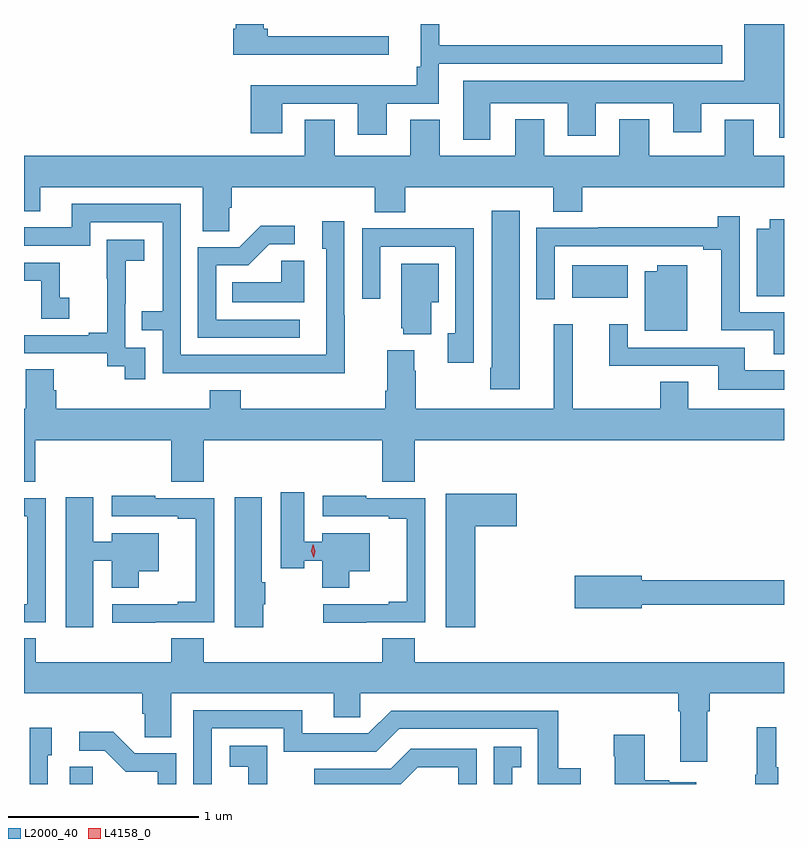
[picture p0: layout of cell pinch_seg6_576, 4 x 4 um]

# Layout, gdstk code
import gdstk
lib = gdstk.Library(unit=1e-6, precision=1e-09)
def R(c, l, rs):  # rectangles x0, y0, x1, y1
    for r in rs: c.add(gdstk.rectangle(r[:2], r[2:], *l))
def P(c, l, *ps):  # polygons
    for p in ps: c.add(gdstk.Polygon(p, *l))
L2000_40 = (2000, 40)
L4158_0 = (4158, 0)

pinch_seg6_576 = lib.new_cell('pinch_seg6_576')
R(pinch_seg6_576, L2000_40, [(532.55,962.842,532.671,962.933), (535.193,965.402,535.486,965.572)])
P(pinch_seg6_576, L2000_40, [(534.229,966.777),(533.591,966.777),(533.591,966.816),(533.571,966.816),(533.571,966.842),(533.423,966.842),(533.423,966.816),(533.408,966.816),(533.408,966.68),(534.229,966.68)],
  [(534.763,966.425),(535.169,966.425),(535.169,966.255),(535.318,966.255),(535.318,966.425),(535.724,966.425),(535.724,966.273),(535.873,966.273),(535.873,966.422),(536.282,966.422),(536.282,966.243),(536.308,966.243),(536.308,966.842),(536.099,966.842),(536.099,966.544),(534.62,966.544),(534.62,966.233),(534.763,966.233)],
  [(534.217,966.423),(534.492,966.423),(534.492,966.633),(535.984,966.633),(535.984,966.73),(534.493,966.73),(534.493,966.842),(534.395,966.842),(534.395,966.616),(534.376,966.616),(534.376,966.52),(533.501,966.52),(533.501,966.267),(533.668,966.267),(533.668,966.423),(534.065,966.423),(534.065,966.258),(534.217,966.258)],
  [(533.388,965.875),(533.402,965.875),(533.402,965.984),(534.155,965.984),(534.155,965.851),(534.315,965.851),(534.315,965.984),(535.094,965.984),(535.094,965.854),(535.247,965.854),(535.247,965.984),(536.308,965.984),(536.308,966.148),(536.149,966.148),(536.149,966.337),(535.997,966.337),(535.997,966.148),(535.6,966.148),(535.6,966.34),(535.442,966.34),(535.442,966.148),(535.045,966.148),(535.045,966.34),(534.893,966.34),(534.893,966.148),(534.496,966.148),(534.496,966.338),(534.341,966.338),(534.341,966.148),(533.944,966.148),(533.944,966.338),(533.786,966.338),(533.786,966.148),(532.308,966.148),(532.308,965.857),(532.393,965.857),(532.393,965.984),(533.249,965.984),(533.249,965.752),(533.388,965.752)],
  [(533.997,965.309),(533.994,965.309),(533.994,965.803),(533.879,965.803),(533.879,965.658),(533.898,965.658),(533.898,965.1),(533.133,965.1),(533.133,965.895),(532.559,965.895),(532.559,965.772),(532.308,965.772),(532.308,965.676),(532.656,965.676),(532.656,965.799),(533.037,965.799),(533.037,965.33),(532.927,965.33),(532.927,965.229),(533.037,965.229),(533.037,965.004),(533.533,965.004),(533.533,965.003),(533.997,965.003)],
  [(534.916,965.86),(534.77,965.86),(534.77,965.032),(534.763,965.032),(534.763,964.92),(534.916,964.92)],
  [(536.308,965.325),(536.076,965.325),(536.076,965.83),(535.96,965.83),(535.96,965.771),(535.33,965.771),(535.33,965.769),(535.005,965.769),(535.005,965.394),(535.101,965.394),(535.101,965.673),(535.883,965.673),(535.883,965.653),(535.979,965.653),(535.979,965.229),(536.255,965.229),(536.255,965.105),(536.308,965.105)],
  [(536.308,965.815),(536.234,965.815),(536.234,965.764),(536.165,965.764),(536.165,965.41),(536.308,965.41)],
  [(533.758,965.286),(533.319,965.286),(533.319,965.571),(533.488,965.571),(533.599,965.682),(533.734,965.682),(533.734,965.78),(533.555,965.78),(533.442,965.667),(533.223,965.667),(533.223,965.19),(533.758,965.19)],
  [(534.675,965.768),(534.403,965.768),(534.403,965.766),(534.087,965.766),(534.087,965.397),(534.183,965.397),(534.183,965.67),(534.579,965.67),(534.579,965.214),(534.539,965.214),(534.539,965.058),(534.675,965.058)],
  [(532.947,965.139),(532.842,965.139),(532.842,965.369),(532.844,965.369),(532.844,965.597),(532.942,965.597),(532.942,965.707),(532.744,965.707),(532.744,965.501),(532.745,965.501),(532.745,965.218),(532.649,965.218),(532.649,965.205),(532.308,965.205),(532.308,965.109),(532.746,965.109),(532.746,965.041),(532.839,965.041),(532.839,964.971),(532.947,964.971)],
  [(533.782,965.597),(533.661,965.597),(533.661,965.482),(533.404,965.482),(533.404,965.378),(533.782,965.378)],
  [(532.546,965.401),(532.497,965.401),(532.497,965.586),(532.308,965.586),(532.308,965.49),(532.398,965.49),(532.398,965.292),(532.546,965.292)],
  [(534.451,965.378),(534.49,965.378),(534.49,965.581),(534.293,965.581),(534.293,965.241),(534.305,965.241),(534.305,965.21),(534.451,965.21)],
  [(535.798,965.572),(535.64,965.572),(535.64,965.542),(535.574,965.542),(535.574,965.228),(535.798,965.228)],
  [(536.308,965.02),(536.101,965.02),(536.101,965.139),(535.485,965.139),(535.485,965.263),(535.388,965.263),(535.388,965.043),(535.961,965.043),(535.961,964.916),(536.308,964.916)],
  [(532.367,964.652),(533.084,964.652),(533.084,964.432),(533.255,964.432),(533.255,964.652),(534.194,964.652),(534.194,964.432),(534.365,964.432),(534.365,964.652),(536.308,964.652),(536.308,964.816),(535.804,964.816),(535.804,964.958),(535.657,964.958),(535.657,964.816),(535.196,964.816),(535.196,965.263),(535.097,965.263),(535.097,964.816),(534.369,964.816),(534.369,965.018),(534.361,965.018),(534.361,965.125),(534.221,965.125),(534.221,964.912),(534.209,964.912),(534.209,964.816),(533.45,964.816),(533.45,964.915),(533.285,964.915),(533.285,964.816),(532.478,964.816),(532.478,964.914),(532.465,964.914),(532.465,965.024),(532.318,965.024),(532.318,964.816),(532.308,964.816),(532.308,964.432),(532.367,964.432)],
  [(534.021,963.962),(534.127,963.962),(534.127,964.162),(533.879,964.162),(533.879,964.117),(533.782,964.117),(533.782,964.378),(533.66,964.378),(533.66,963.977),(533.782,963.977),(533.782,964.018),(533.879,964.018),(533.879,963.874),(534.021,963.874)],
  [(534.683,964.199),(534.901,964.199),(534.901,964.369),(534.527,964.369),(534.527,963.666),(534.683,963.666)],
  [(534.11,963.693),(534.42,963.693),(534.42,964.347),(534.11,964.347),(534.11,964.36),(533.88,964.36),(533.88,964.251),(534.227,964.251),(534.227,964.239),(534.323,964.239),(534.323,963.802),(534.227,963.802),(534.227,963.789),(533.883,963.789),(533.883,963.692),(534.11,963.692)],
  [(533,963.693),(533.31,963.693),(533.31,964.347),(533,964.347),(533,964.36),(532.77,964.36),(532.77,964.251),(533.117,964.251),(533.117,964.239),(533.213,964.239),(533.213,963.802),(533.117,963.802),(533.117,963.789),(532.773,963.789),(532.773,963.692),(533,963.692)],
  [(533.568,963.789),(533.578,963.789),(533.578,963.903),(533.56,963.903),(533.56,964.351),(533.417,964.351),(533.417,963.666),(533.568,963.666)],
  [(532.672,964.018),(532.769,964.018),(532.769,963.874),(532.911,963.874),(532.911,963.962),(533.017,963.962),(533.017,964.162),(532.769,964.162),(532.769,964.117),(532.672,964.117),(532.672,964.351),(532.529,964.351),(532.529,963.666),(532.672,963.666)],
  [(532.422,964.347),(532.308,964.347),(532.308,964.251),(532.325,964.251),(532.325,964.25),(532.326,964.25),(532.326,963.789),(532.308,963.789),(532.308,963.693),(532.422,963.693)],
  [(535.558,963.786),(536.308,963.786),(536.308,963.914),(535.558,963.914),(535.558,963.938),(535.206,963.938),(535.206,963.767),(535.558,963.767)],
  [(534.365,963.608),(534.194,963.608),(534.194,963.484),(533.255,963.484),(533.255,963.608),(533.084,963.608),(533.084,963.484),(532.37,963.484),(532.37,963.608),(532.308,963.608),(532.308,963.32),(532.931,963.32),(532.931,963.211),(532.944,963.211),(532.944,963.088),(533.083,963.088),(533.083,963.32),(533.939,963.32),(533.939,963.193),(534.078,963.193),(534.078,963.32),(535.751,963.32),(535.751,963.224),(535.763,963.224),(535.763,962.958),(535.903,962.958),(535.903,963.224),(535.916,963.224),(535.916,963.32),(536.308,963.32),(536.308,963.484),(534.365,963.484)],
  [(533.295,963.135),(533.676,963.135),(533.676,963.012),(534.162,963.012),(534.282,963.132),(535.011,963.132),(535.011,962.842),(535.238,962.842),(535.238,962.926),(535.12,962.926),(535.12,963.228),(534.24,963.228),(534.12,963.108),(533.773,963.108),(533.773,963.231),(533.199,963.231),(533.199,962.842),(533.295,962.842)],
  [(536.278,962.929),(536.267,962.929),(536.267,963.142),(536.164,963.142),(536.164,962.892),(536.157,962.892),(536.157,962.842),(536.278,962.842)],
  [(532.434,962.994),(532.453,962.994),(532.453,963.139),(532.338,963.139),(532.338,962.842),(532.434,962.842)],
  [(533.109,963.003),(532.89,963.003),(532.777,963.116),(532.599,963.116),(532.599,963.018),(532.733,963.018),(532.844,962.907),(533.013,962.907),(533.013,962.842),(533.109,962.842)],
  [(535.846,962.851),(535.703,962.851),(535.703,962.861),(535.576,962.861),(535.576,963.1),(535.411,963.1),(535.411,962.987),(535.418,962.987),(535.418,962.842),(535.846,962.842)],
  [(533.589,963.043),(533.391,963.043),(533.391,962.933),(533.489,962.933),(533.489,962.842),(533.589,962.842)],
  [(534.877,962.931),(534.926,962.931),(534.926,963.037),(534.78,963.037),(534.78,962.842),(534.877,962.842)],
  [(534.38,962.93),(534.594,962.93),(534.594,962.842),(534.69,962.842),(534.69,963.027),(534.344,963.027),(534.239,962.922),(533.836,962.922),(533.836,962.842),(534.292,962.842)])
P(pinch_seg6_576, L4158_0, [(533.832,964.032),(533.832,964.032),(533.821,964.066),(533.829,964.102),(533.829,964.102),(533.83,964.102),(533.841,964.067),(533.832,964.032)])

lib.write_gds('pinch_seg6_576.gds')
